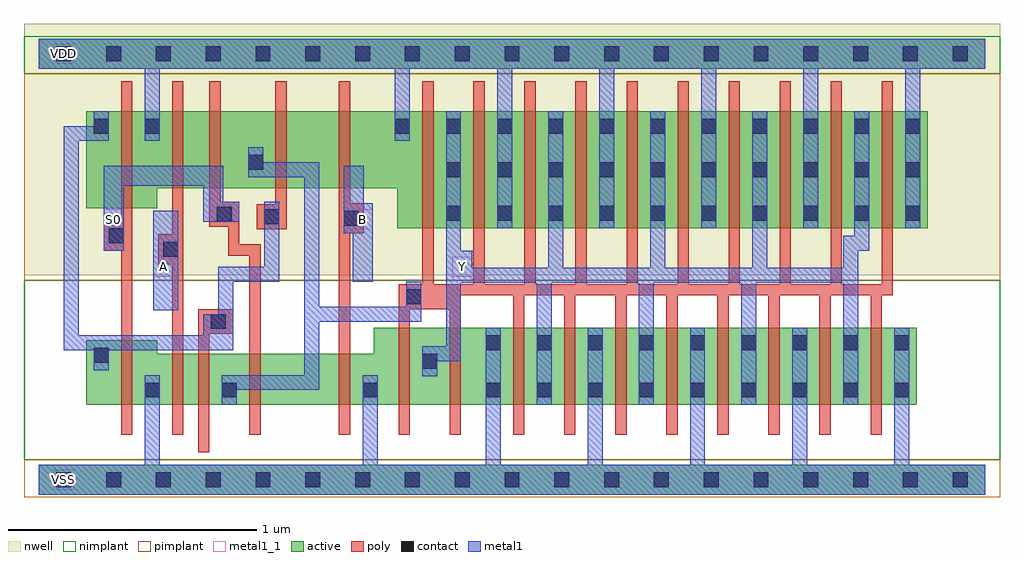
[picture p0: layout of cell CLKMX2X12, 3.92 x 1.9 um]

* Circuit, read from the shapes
.subckt CLKMX2X12 A B S0 VDD VSS Y
M1 VSS S0 n1 VSS nfet w=0.26u l=0.045u
M2 n2 A VSS VSS nfet w=0.205u l=0.045u
M3 n3 n1 n2 VSS nfet w=0.205u l=0.045u
M4 n4 S0 n3 VSS nfet w=0.205u l=0.045u
M5 VSS B n4 VSS nfet w=0.205u l=0.045u
M6 Y n3 VSS VSS nfet w=0.31u l=0.045u m=10
M7 VDD S0 n1 VDD pfet w=0.39u l=0.045u
M8 n5 A VDD VDD pfet w=0.31u l=0.045u
M9 n3 S0 n5 VDD pfet w=0.31u l=0.045u
M10 n6 n1 n3 VDD pfet w=0.31u l=0.045u
M11 VDD B n6 VDD pfet w=0.31u l=0.045u
M12 Y n3 VDD VDD pfet w=0.47u l=0.045u m=10
.ends

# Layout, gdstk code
import gdstk
lib = gdstk.Library(unit=1e-6, precision=5e-10)
def R(c, l, rs):  # rectangles x0, y0, x1, y1
    for r in rs: c.add(gdstk.rectangle(r[:2], r[2:], *l))
def A(c, l, x, y, w, h, nx, ny, dx, dy):  # array of equal rectangles
    R(c, l, [(x+i*dx, y+j*dy, x+i*dx+w, y+j*dy+h) for i in range(nx) for j in range(ny)])
def P(c, l, *ps):  # polygons
    for p in ps: c.add(gdstk.Polygon(p, *l))
active = (1, 0)
nwell = (2, 0)
poly = (3, 0)
nimplant = (4, 0)
pimplant = (5, 0)
contact = (6, 0)
metal1 = (7, 0)
metal1_1 = (7, 1)

clkmx2x12 = lib.new_cell('CLKMX2X12')
R(clkmx2x12, active, [(0,-0.06,3.8,0.06), (0,1.65,3.8,1.77)])
P(clkmx2x12, active, [(0.19,1.48),(3.57,1.48),(3.57,1.01),(1.44,1.01),(1.44,1.17),(0.475,1.17),(0.475,1.09),(0.19,1.09)],
  [(0.19,0.56),(0.475,0.56),(0.475,0.505),(1.345,0.505),(1.345,0.61),(3.525,0.61),(3.525,0.3),(0.19,0.3)])
R(clkmx2x12, nwell, [(-0.06,0.82,3.86,1.83)])
P(clkmx2x12, poly, [(0.33,1.6),(0.375,1.6),(0.375,0.18),(0.33,0.18),(0.33,0.92),(0.26,0.92),(0.26,1.04),(0.33,1.04)],
  [(0.535,1.6),(0.58,1.6),(0.58,0.18),(0.535,0.18),(0.535,0.865),(0.48,0.865),(0.48,0.985),(0.535,0.985)],
  [(0.685,1.6),(0.73,1.6),(0.73,1.115),(0.805,1.115),(0.805,0.945),(0.89,0.945),(0.89,0.18),(0.845,0.18),(0.845,0.9),(0.76,0.9),(0.76,1.015),(0.685,1.015)],
  [(0.95,1.6),(0.995,1.6),(0.995,1.005),(0.875,1.005),(0.875,1.105),(0.95,1.105)],
  [(1.205,1.6),(1.25,1.6),(1.25,1.11),(1.305,1.11),(1.305,0.99),(1.25,0.99),(1.25,0.18),(1.205,0.18)],
  [(1.54,1.6),(1.585,1.6),(1.585,0.785),(1.745,0.785),(1.745,1.6),(1.79,1.6),(1.79,0.785),(1.95,0.785),(1.95,1.6),(1.995,1.6),(1.995,0.785),(2.155,0.785),(2.155,1.6),(2.2,1.6),(2.2,0.785),(2.36,0.785),(2.36,1.6),(2.405,1.6),(2.405,0.785),(2.565,0.785),(2.565,1.6),(2.61,1.6),(2.61,0.785),(2.77,0.785),(2.77,1.6),(2.815,1.6),(2.815,0.785),(2.975,0.785),(2.975,1.6),(3.02,1.6),(3.02,0.785),(3.18,0.785),(3.18,1.6),(3.225,1.6),(3.225,0.785),(3.385,0.785),(3.385,1.6),(3.43,1.6),(3.43,0.74),(3.385,0.74),(3.385,0.18),(3.34,0.18),(3.34,0.74),(3.18,0.74),(3.18,0.18),(3.135,0.18),(3.135,0.74),(2.975,0.74),(2.975,0.18),(2.93,0.18),(2.93,0.74),(2.77,0.74),(2.77,0.18),(2.725,0.18),(2.725,0.74),(2.565,0.74),(2.565,0.18),(2.52,0.18),(2.52,0.74),(2.36,0.74),(2.36,0.18),(2.315,0.18),(2.315,0.74),(2.155,0.74),(2.155,0.18),(2.11,0.18),(2.11,0.74),(1.95,0.74),(1.95,0.18),(1.905,0.18),(1.905,0.74),(1.695,0.74),(1.695,0.18),(1.65,0.18),(1.65,0.685),(1.49,0.685),(1.49,0.18),(1.445,0.18),(1.445,0.785),(1.54,0.785)],
  [(0.64,0.685),(0.78,0.685),(0.78,0.585),(0.685,0.585),(0.685,0.11),(0.64,0.11)])
R(clkmx2x12, nimplant, [(-0.06,0.08,3.86,0.8), (-0.06,1.63,3.86,1.78)])
R(clkmx2x12, pimplant, [(-0.06,-0.07,3.86,0.08), (-0.06,0.8,3.86,1.63)])
A(clkmx2x12, contact, 0.07, -0.03, 0.06, 0.06, 19, 2, 0.2, 1.71)
A(clkmx2x12, contact, 1.795, 0.33, 0.06, 0.06, 9, 2, 0.205, 0.19)
A(clkmx2x12, contact, 1.635, 1.04, 0.06, 0.06, 10, 2, 0.205, 0.175)
A(clkmx2x12, contact, 1.43, 1.39, 0.06, 0.06, 11, 1, 0.205, 0)
R(clkmx2x12, contact, [(0.425,0.33,0.485,0.39), (0.735,0.33,0.795,0.39), (1.3,0.33,1.36,0.39), (1.54,0.445,1.6,0.505), (0.22,0.47,0.28,0.53), (0.69,0.605,0.75,0.665), (1.475,0.705,1.535,0.765), (0.5,0.895,0.56,0.955), (0.28,0.95,0.34,1.01), (1.225,1.02,1.285,1.08), (0.905,1.025,0.965,1.085), (0.715,1.035,0.775,1.095), (0.84,1.245,0.9,1.305), (0.22,1.39,0.28,1.45), (0.425,1.39,0.485,1.45)])
R(clkmx2x12, metal1, [(0.46,0.68,0.56,1.08)])
P(clkmx2x12, metal1, [(0,1.77),(3.8,1.77),(3.8,1.65),(3.54,1.65),(3.54,1.01),(3.48,1.01),(3.48,1.65),(3.13,1.65),(3.13,1.01),(3.07,1.01),(3.07,1.65),(2.72,1.65),(2.72,1.01),(2.66,1.01),(2.66,1.65),(2.31,1.65),(2.31,1.01),(2.25,1.01),(2.25,1.65),(1.9,1.65),(1.9,1.01),(1.84,1.01),(1.84,1.65),(1.49,1.65),(1.49,1.36),(1.43,1.36),(1.43,1.65),(0.485,1.65),(0.485,1.36),(0.425,1.36),(0.425,1.65),(0,1.65)],
  [(0.22,1.48),(0.28,1.48),(0.28,1.36),(0.16,1.36),(0.16,0.58),(0.66,0.58),(0.66,0.665),(0.72,0.665),(0.72,0.855),(0.905,0.855),(0.905,1.115),(0.965,1.115),(0.965,0.795),(0.78,0.795),(0.78,0.52),(0.28,0.52),(0.28,0.44),(0.22,0.44),(0.22,0.52),(0.1,0.52),(0.1,1.42),(0.22,1.42)],
  [(0.84,1.335),(0.9,1.335),(0.9,1.275),(1.125,1.275),(1.125,0.695),(1.475,0.695),(1.475,0.795),(1.535,0.795),(1.535,0.635),(1.125,0.635),(1.125,0.36),(0.795,0.36),(0.795,0.3),(0.735,0.3),(0.735,0.42),(1.065,0.42),(1.065,1.215),(0.84,1.215)],
  [(0.26,1.26),(0.74,1.26),(0.74,1.115),(0.805,1.115),(0.805,1.035),(0.66,1.035),(0.66,1.18),(0.34,1.18),(0.34,0.92),(0.26,0.92)],
  [(1.635,1.48),(1.695,1.48),(1.695,0.92),(1.74,0.92),(1.74,0.85),(2.045,0.85),(2.045,1.48),(2.105,1.48),(2.105,0.85),(2.455,0.85),(2.455,1.48),(2.515,1.48),(2.515,0.85),(2.865,0.85),(2.865,1.48),(2.925,1.48),(2.925,0.85),(3.23,0.85),(3.23,0.98),(3.275,0.98),(3.275,1.48),(3.335,1.48),(3.335,0.92),(3.29,0.92),(3.29,0.3),(3.23,0.3),(3.23,0.79),(2.88,0.79),(2.88,0.3),(2.82,0.3),(2.82,0.79),(2.47,0.79),(2.47,0.3),(2.41,0.3),(2.41,0.79),(2.06,0.79),(2.06,0.3),(2,0.3),(2,0.79),(1.695,0.79),(1.695,0.475),(1.6,0.475),(1.6,0.415),(1.54,0.415),(1.54,0.535),(1.635,0.535)],
  [(1.225,1.26),(1.305,1.26),(1.305,1.11),(1.34,1.11),(1.34,0.795),(1.26,0.795),(1.26,0.99),(1.225,0.99)],
  [(0.425,0.42),(0.485,0.42),(0.485,0.06),(1.3,0.06),(1.3,0.42),(1.36,0.42),(1.36,0.06),(1.795,0.06),(1.795,0.61),(1.855,0.61),(1.855,0.06),(2.205,0.06),(2.205,0.61),(2.265,0.61),(2.265,0.06),(2.615,0.06),(2.615,0.61),(2.675,0.61),(2.675,0.06),(3.025,0.06),(3.025,0.61),(3.085,0.61),(3.085,0.06),(3.435,0.06),(3.435,0.61),(3.495,0.61),(3.495,0.06),(3.8,0.06),(3.8,-0.06),(0,-0.06),(0,0.06),(0.425,0.06)])
R(clkmx2x12, metal1_1, [(0.06,-0.04,0.14,0.04), (0.46,0.815,0.54,0.895), (1.66,0.815,1.74,0.895), (0.26,1.005,0.34,1.085), (1.26,1.005,1.34,1.085), (0.06,1.67,0.14,1.75)])
clkmx2x12.add(gdstk.Label('Y', (1.7,0.855), layer=7, texttype=1))
clkmx2x12.add(gdstk.Label('B', (1.3,1.045), layer=7, texttype=1))
clkmx2x12.add(gdstk.Label('A', (0.5,0.855), layer=7, texttype=1))
clkmx2x12.add(gdstk.Label('S0', (0.3,1.045), layer=7, texttype=1))
clkmx2x12.add(gdstk.Label('VDD', (0.1,1.71), layer=7, texttype=1))
clkmx2x12.add(gdstk.Label('VSS', (0.1,0), layer=7, texttype=1))
clkmx2x12.add(gdstk.Label('CLKMX2X12', (0,0), layer=63, texttype=0))

lib.write_gds('CLKMX2X12.gds')
